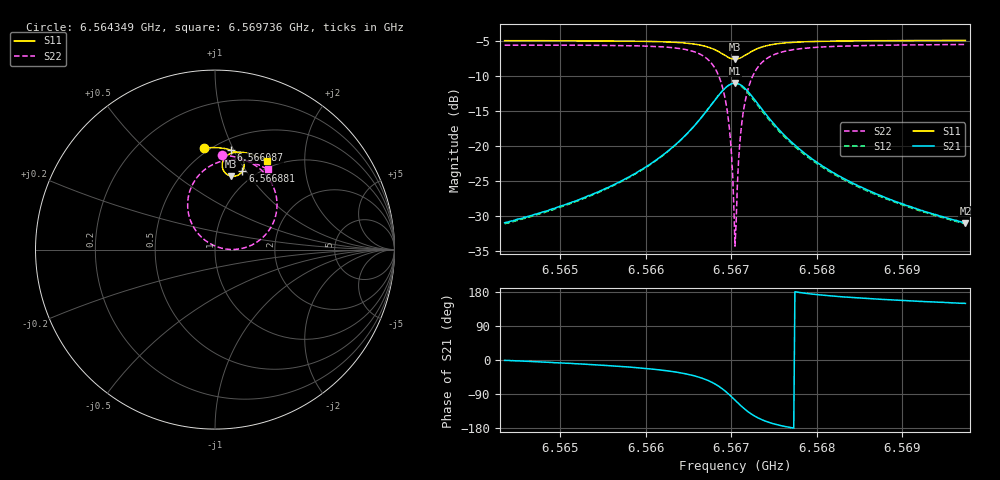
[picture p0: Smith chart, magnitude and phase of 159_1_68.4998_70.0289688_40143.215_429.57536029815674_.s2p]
#  HZ  S  RI  R  50.00
! Rohde & Schwarz Vector Network Analyzer
! Rohde-Schwarz,ZNB20-2Port,1311601062101988,3.16
! Created: UTC 3/20/2024, 4:55:42 PM
! freq[Hz]  re:S11  im:S11  re:S21  im:S21  re:S12  im:S12  re:S22  im:S22
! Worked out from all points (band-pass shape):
!   401 points, 6.564349 GHz to 6.569736 GHz, reference 50 ohm
!   highest |S21| = -10.97 dB at 6.567043 GHz (marker M1); lowest = -31.0 dB at 6.569736 GHz (marker M2)
!   |S21| within 3 dB of the highest: 6.566772 GHz to 6.567312 GHz (539.8 kHz wide, 0.00822 % of centre)
!   lowest |S11| = -7.6 dB at 6.567043 GHz (marker M3), VSWR 2.44, Z = 41.2 + j41 ohm
!   |S11| at or under -10 dB: nowhere
!   |S22| runs from -34.3 to -5.4 dB; largest |S21 - S12| = 0.014
!   S11 on the Smith chart (normalised r, x): 6.564349 GHz: 0.47, +0.78; 6.566087 GHz: 0.60, +0.98; 6.566881 GHz: 0.86, +0.96; 6.569736 GHz: 0.91, +1.32
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6.5643494e9  -0.0631 0.5657  0.0283 -0.000543  0.0278 -0.00098  0.0381 0.5268
6.5652517e9  0.011 0.5679  0.0416 -0.00777  0.0408 -0.00839  0.1242 0.513
6.5660866e9  0.0893 0.5542  0.0702 -0.0317  0.0691 -0.0326  0.234 0.4627
6.5661539e9  0.0965 0.5516  0.074 -0.0361  0.0729 -0.037  0.2456 0.4537
6.5664502e9  0.1308 0.5323  0.0953 -0.0687  0.0938 -0.0702  0.3046 0.3888
6.5666657e9  0.156 0.5007  0.1089 -0.1239  0.1066 -0.1263  0.3434 0.2825
6.5667868e9  0.1623 0.4693  0.1014 -0.1791  0.0968 -0.1825  0.3347 0.1771
6.5668811e9  0.1529 0.4377  0.0679 -0.2333  0.0599 -0.2365  0.2743 0.0755
6.5669619e9  0.1269 0.4142  0.00643 -0.271  -0.00494 -0.2711  0.161 0.00897
6.5669888e9  0.1146 0.4099  -0.0204 -0.2767  -0.0325 -0.2749  0.1123 0.000999
6.5670292e9  0.0944 0.4085  -0.0633 -0.2753  -0.0754 -0.2702  0.0359 0.008
6.5670427e9  0.0876 0.4097  -0.0776 -0.2721  -0.0893 -0.2658  0.0114 0.0156
6.5670562e9  0.0811 0.4115  -0.0912 -0.2673  -0.1027 -0.2601  -0.0125 0.0256
6.5670696e9  0.0747 0.4142  -0.1045 -0.2613  -0.1154 -0.2532  -0.0348 0.0379
6.5670966e9  0.0634 0.4214  -0.1283 -0.2458  -0.1377 -0.236  -0.0745 0.0685
6.567137e9  0.0503 0.4356  -0.1562 -0.2165  -0.1628 -0.2052  -0.1185 0.1239
6.5671908e9  0.0413 0.4575  -0.1774 -0.1731  -0.1804 -0.1615  -0.148 0.2024
6.5672582e9  0.0413 0.4828  -0.1832 -0.1235  -0.1829 -0.1134  -0.1491 0.2896
6.5675006e9  0.0787 0.531  -0.141 -0.028  -0.1378 -0.0236  -0.052 0.4496
6.567945e9  0.1414 0.5431  -0.0806 0.00849  -0.0786 0.00983  0.0847 0.5004
6.5688472e9  0.2258 0.5228  -0.039 0.015  -0.0382 0.0154  0.2154 0.4827
6.569736e9  0.2917 0.491  -0.0243 0.0144  -0.0237 0.0145  0.2936 0.4465
